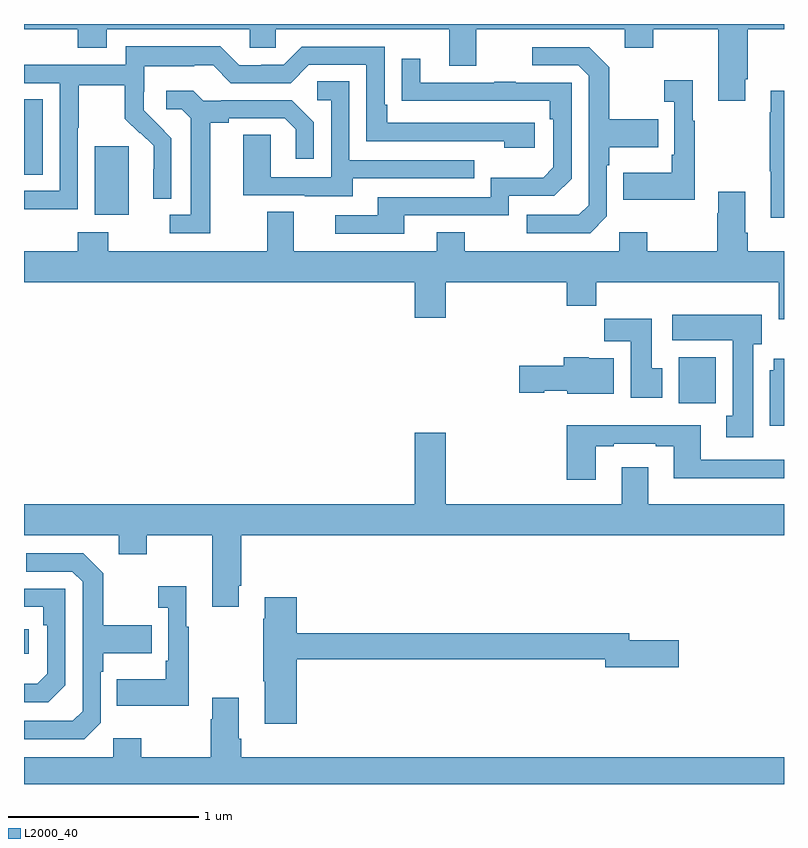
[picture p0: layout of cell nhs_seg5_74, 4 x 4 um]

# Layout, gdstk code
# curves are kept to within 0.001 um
import gdstk
lib = gdstk.Library(unit=1e-6, precision=1e-09)
def R(c, l, rs):  # rectangles x0, y0, x1, y1
    for r in rs: c.add(gdstk.rectangle(r[:2], r[2:], *l))
def P(c, l, *ps):  # polygons
    for p in ps: c.add(gdstk.Polygon(p, *l))
L2000_40 = (2000, 40)

nhs_seg5_74 = lib.new_cell('nhs_seg5_74')
R(nhs_seg5_74, L2000_40, [(115,841.484,115.024,841.614), (118.445,842.804,118.642,843.046), (115.373,843.794,115.552,844.155), (115,844.006,115.099,844.403)])
P(nhs_seg5_74, L2000_40, [(118.795,844.507),(118.808,844.507),(118.808,844.772),(119,844.772),(119,844.799),(115,844.799),(115,844.772),(115.283,844.772),(115.283,844.673),(115.435,844.673),(115.435,844.772),(116.187,844.772),(116.187,844.674),(116.325,844.674),(116.325,844.772),(117.239,844.772),(117.239,844.578),(117.379,844.578),(117.379,844.772),(118.163,844.772),(118.163,844.673),(118.311,844.673),(118.311,844.772),(118.655,844.772),(118.655,844.395),(118.795,844.395)],
  [(115.284,844.252),(115.287,844.252),(115.287,844.476),(115.531,844.476),(115.531,844.301),(115.608,844.224),(115.611,844.227),(115.682,844.157),(115.682,844.034),(115.68,844.034),(115.68,843.88),(115.776,843.88),(115.776,844.198),(115.63,844.346),(115.63,844.443),(115.632,844.443),(115.632,844.577),(115.895,844.577),(115.895,844.581),(115.995,844.581),(116.088,844.488),(116.403,844.488),(116.499,844.584),(116.802,844.584),(116.802,844.182),(117.527,844.182),(117.527,844.148),(117.688,844.148),(117.688,844.278),(116.911,844.278),(116.911,844.375),(116.898,844.375),(116.898,844.68),(116.463,844.68),(116.367,844.584),(116.249,844.584),(116.249,844.581),(116.133,844.581),(116.033,844.681),(115.536,844.681),(115.536,844.584),(115,844.584),(115,844.488),(115.188,844.488),(115.188,843.921),(115,843.921),(115,843.823),(115.284,843.823)],
  [(118.068,843.786),(118.068,844.055),(118.081,844.055),(118.081,844.151),(118.337,844.151),(118.337,844.299),(118.081,844.299),(118.081,844.571),(117.975,844.677),(117.675,844.677),(117.675,844.581),(117.918,844.581),(117.972,844.527),(117.972,843.846),(117.921,843.795),(117.645,843.795),(117.645,843.699),(117.981,843.699)],
  [(117.001,843.792),(117.552,843.792),(117.552,843.894),(117.792,843.894),(117.882,843.984),(117.882,844.491),(117.587,844.491),(117.587,844.496),(117.475,844.496),(117.475,844.491),(117.085,844.491),(117.085,844.615),(116.989,844.615),(116.989,844.396),(117.766,844.395),(117.766,844.298),(117.786,844.298),(117.786,844.044),(117.733,843.991),(117.456,843.991),(117.456,843.888),(116.861,843.888),(116.861,843.792),(116.637,843.792),(116.637,843.696),(117.001,843.696)],
  [(118.531,844.291),(118.519,844.291),(118.519,844.504),(118.371,844.504),(118.371,844.391),(118.422,844.391),(118.422,844.111),(118.41,844.111),(118.41,844.015),(118.153,844.015),(118.153,843.875),(118.531,843.875)],
  [(116.731,843.987),(117.371,843.987),(117.371,844.083),(116.712,844.083),(116.712,844.499),(116.544,844.499),(116.544,844.398),(116.616,844.398),(116.616,843.993),(116.298,843.993),(116.298,844.217),(116.153,844.217),(116.153,843.897),(116.477,843.897),(116.477,843.893),(116.731,843.893)],
  [(119,844.447),(118.931,844.447),(118.931,844.334),(118.924,844.334),(118.924,844.023),(118.931,844.023),(118.931,843.78),(119,843.78)],
  [(115.981,844.28),(116.077,844.28),(116.077,844.302),(116.372,844.302),(116.429,844.245),(116.429,844.089),(116.526,844.089),(116.526,844.282),(116.41,844.398),(116.038,844.398),(116.038,844.395),(115.944,844.395),(115.892,844.447),(115.749,844.447),(115.749,844.35),(115.83,844.35),(115.877,844.303),(115.877,843.795),(115.767,843.795),(115.767,843.699),(115.981,843.699)],
  [(119,843.604),(118.808,843.604),(118.808,843.7),(118.795,843.7),(118.795,843.916),(118.655,843.916),(118.655,843.803),(118.648,843.803),(118.648,843.604),(118.281,843.604),(118.281,843.703),(118.134,843.703),(118.134,843.604),(117.321,843.604),(117.321,843.703),(117.173,843.703),(117.173,843.604),(116.419,843.604),(116.419,843.812),(116.279,843.812),(116.279,843.604),(115.443,843.604),(115.443,843.703),(115.283,843.703),(115.283,843.604),(115,843.604),(115,843.44),(117.056,843.44),(117.056,843.252),(117.22,843.252),(117.22,843.44),(117.857,843.44),(117.857,843.316),(118.013,843.316),(118.013,843.44),(118.973,843.44),(118.973,843.246),(119,843.246)],
  [(118.837,843.114),(118.882,843.114),(118.882,843.268),(118.413,843.268),(118.413,843.134),(118.73,843.134),(118.73,842.738),(118.697,842.738),(118.697,842.625),(118.837,842.625)],
  [(118.36,842.988),(118.303,842.988),(118.303,843.247),(118.054,843.247),(118.054,843.128),(118.193,843.128),(118.193,842.832),(118.36,842.832)],
  [(118.105,843.04),(117.972,843.04),(117.972,843.046),(117.842,843.046),(117.842,843),(117.606,843),(117.606,842.858),(117.738,842.858),(117.738,842.87),(117.858,842.87),(117.858,842.852),(118.105,842.852)],
  [(119,843.037),(118.946,843.037),(118.946,842.976),(118.925,842.976),(118.925,842.684),(119,842.684)],
  [(118.009,842.577),(118.105,842.577),(118.105,842.589),(118.325,842.589),(118.325,842.577),(118.421,842.577),(118.421,842.408),(119,842.408),(119,842.505),(118.561,842.505),(118.561,842.686),(117.857,842.686),(117.857,842.4),(118.009,842.4)],
  [(116.131,841.843),(116.144,841.843),(116.144,842.108),(119,842.108),(119,842.272),(118.285,842.272),(118.285,842.467),(118.145,842.467),(118.145,842.272),(117.22,842.272),(117.22,842.647),(117.056,842.647),(117.056,842.272),(115,842.272),(115,842.108),(115.499,842.108),(115.499,842.009),(115.647,842.009),(115.647,842.108),(115.991,842.108),(115.991,841.731),(116.131,841.731)],
  [(115.404,841.122),(115.404,841.391),(115.417,841.391),(115.417,841.487),(115.673,841.487),(115.673,841.635),(115.417,841.635),(115.417,841.907),(115.311,842.013),(115.011,842.013),(115.011,841.917),(115.254,841.917),(115.308,841.863),(115.308,841.182),(115.257,841.131),(115,841.131),(115,841.035),(115.317,841.035)],
  [(115.867,841.627),(115.855,841.627),(115.855,841.84),(115.707,841.84),(115.707,841.727),(115.758,841.727),(115.758,841.447),(115.746,841.447),(115.746,841.351),(115.489,841.351),(115.489,841.211),(115.867,841.211)],
  [(115.218,841.32),(115.218,841.827),(115,841.827),(115,841.731),(115.102,841.731),(115.102,841.634),(115.122,841.634),(115.122,841.38),(115.069,841.327),(115,841.327),(115,841.23),(115.128,841.23)],
  [(116.435,841.456),(118.058,841.456),(118.058,841.414),(118.447,841.414),(118.447,841.556),(118.186,841.556),(118.186,841.592),(116.435,841.592),(116.435,841.783),(116.267,841.783),(116.267,841.67),(116.26,841.67),(116.26,841.339),(116.267,841.339),(116.267,841.116),(116.435,841.116)],
  [(119,840.94),(116.144,840.94),(116.144,841.036),(116.131,841.036),(116.131,841.252),(115.991,841.252),(115.991,841.139),(115.984,841.139),(115.984,840.94),(115.617,840.94),(115.617,841.039),(115.47,841.039),(115.47,840.94),(115,840.94),(115,840.799),(119,840.799)])

lib.write_gds('nhs_seg5_74.gds')
